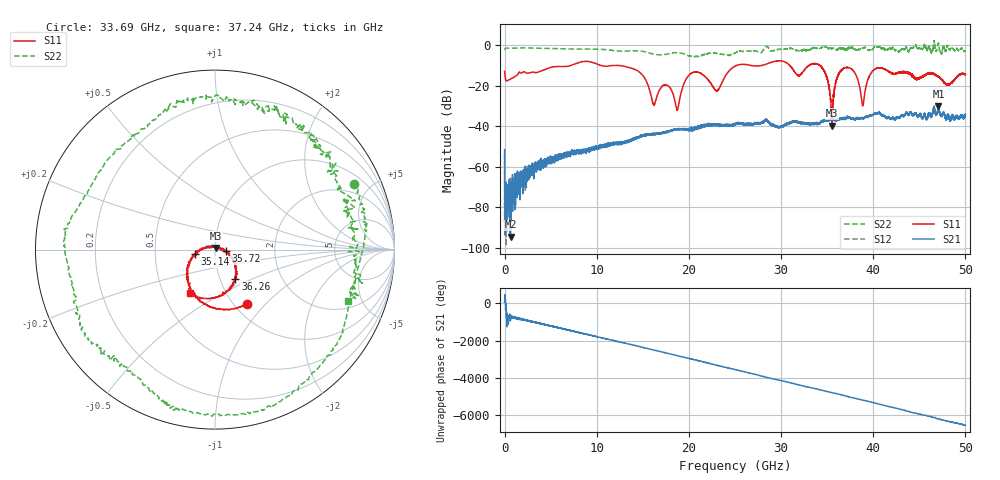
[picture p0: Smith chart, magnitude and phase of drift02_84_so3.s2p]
!Created with skrf (http://scikit-rf.org).
# Hz S RI R 50.0
!freq ReS11 ImS11 ReS21 ImS21 ReS12 ImS12 ReS22 ImS22
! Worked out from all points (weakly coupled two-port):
!   10001 points, 300 kHz to 50 GHz, reference 50 ohm
!   highest |S21| = -30.24 dB at 47.08 GHz (marker M1); lowest = -94.5 dB at 640.3 MHz (marker M2)
!   lowest |S11| = -39.7 dB at 35.53 GHz (marker M3), VSWR 1.02, Z = 50.4 + j0.979 ohm
!   |S11| at or under -10 dB: start of sweep to 7.178 GHz; 12.36 GHz to 25.18 GHz (12.82 GHz wide, 68.3 % of centre); 34.22 GHz to end of sweep (the widest 3 of 13)
!   |S22| runs from -5.7 to 2.3 dB; largest |S21 - S12| = 0.0035
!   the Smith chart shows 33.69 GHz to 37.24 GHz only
!   S11 on the Smith chart (normalised r, x): 33.69 GHz: 1.14, -0.79; 35.14 GHz: 0.80, -0.04; 35.72 GHz: 1.13, -0.02; 36.26 GHz: 1.18, -0.40; 37.24 GHz: 0.68, -0.36
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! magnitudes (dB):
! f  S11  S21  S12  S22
! 300 kHz  -12.9  -51.5  -53.7  -2.0
! 255.3 MHz  -17.6  -88.4  -73.6  -1.4
! 640.3 MHz  -16.7  -94.5  -77.9  -1.5
! 8.335 GHz  -8.2  -51.9  -51.9  -1.9
! 14.03 GHz  -11.8  -46.4  -46.3  -2.8
! 16.67 GHz  -23.5  -43.7  -43.6  -4.7
! 18.74 GHz  -32.0  -41.6  -41.5  -3.7
! 20.24 GHz  -13.9  -41.4  -41.3  -5.4
! 23.04 GHz  -22.5  -39.3  -39.7  -4.1
! 25 GHz  -10.3  -39.1  -39.1  -3.9
! 33.34 GHz  -9.3  -38.9  -38.6  -1.6
! 33.69 GHz  -9.1  -39.0  -38.5  -1.3
! 35.14 GHz  -18.9  -37.1  -37.1  -1.7
! 35.53 GHz  -39.7  -37.0  -36.7  -1.7
! 35.72 GHz  -24.5  -36.7  -36.5  -1.7
! 36.26 GHz  -14.1  -36.5  -36.5  -1.7
! 37.24 GHz  -11.0  -35.5  -35.6  -2.0
! 38.86 GHz  -29.9  -36.1  -35.9  -1.3
! 39.96 GHz  -12.6  -34.6  -34.3  -1.8
! 41.67 GHz  -12.9  -35.6  -35.7  -2.0
! 47.08 GHz  -15.7  -30.2  -30.2  0.9
! 50 GHz  -14.5  -34.7  -34.5  -2.7
